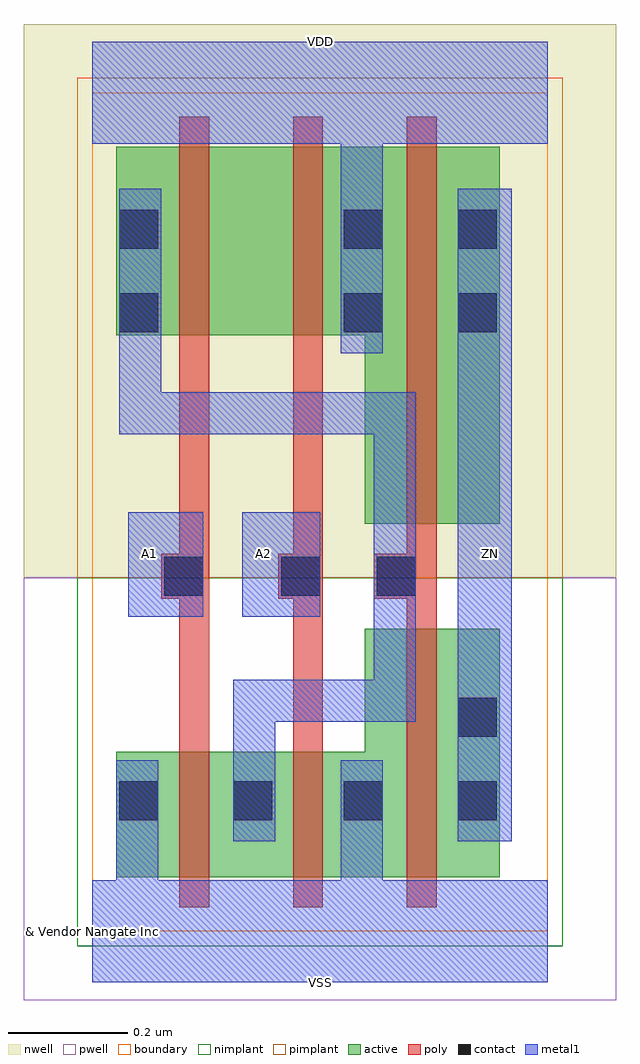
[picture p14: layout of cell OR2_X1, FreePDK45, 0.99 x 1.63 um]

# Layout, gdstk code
import gdstk
lib = gdstk.Library(unit=1e-6, precision=1e-10)
def R(c, l, rs):  # rectangles x0, y0, x1, y1
    for r in rs: c.add(gdstk.rectangle(r[:2], r[2:], *l))
def P(c, l, *ps):  # polygons
    for p in ps: c.add(gdstk.Polygon(p, *l))
active = (1, 0)
pwell = (2, 0)
nwell = (3, 0)
nimplant = (4, 0)
pimplant = (5, 0)
poly = (9, 0)
contact = (10, 0)
metal1 = (11, 0)
boundary = (235, 0)

or2_x1 = lib.new_cell('OR2_X1')
P(or2_x1, active, [(0.04,0.09),(0.04,0.3),(0.455,0.3),(0.455,0.505),(0.68,0.505),(0.68,0.09)],
  [(0.455,0.68),(0.455,0.995),(0.04,0.995),(0.04,1.31),(0.68,1.31),(0.68,0.68)])
R(or2_x1, pwell, [(-0.115,-0.115,0.875,0.59)])
R(or2_x1, nwell, [(-0.115,0.59,0.875,1.515)])
R(or2_x1, nimplant, [(-0.025,-0.025,0.785,0.59)])
R(or2_x1, pimplant, [(-0.025,0.59,0.785,1.425)])
P(or2_x1, poly, [(0.145,0.04),(0.145,0.555),(0.115,0.555),(0.115,0.63),(0.145,0.63),(0.145,1.36),(0.195,1.36),(0.195,0.04)],
  [(0.335,0.04),(0.335,0.555),(0.31,0.555),(0.31,0.63),(0.335,0.63),(0.335,1.36),(0.385,1.36),(0.385,0.04)],
  [(0.525,0.04),(0.525,0.555),(0.47,0.555),(0.47,0.63),(0.525,0.63),(0.525,1.36),(0.575,1.36),(0.575,0.04)])
R(or2_x1, contact, [(0.045,0.185,0.11,0.25), (0.235,0.185,0.3,0.25), (0.42,0.185,0.485,0.25), (0.61,0.185,0.675,0.25), (0.61,0.325,0.675,0.39), (0.12,0.56,0.185,0.625), (0.315,0.56,0.38,0.625), (0.475,0.56,0.54,0.625), (0.045,1,0.11,1.065), (0.42,1,0.485,1.065), (0.61,1,0.675,1.065), (0.045,1.14,0.11,1.205), (0.42,1.14,0.485,1.205), (0.61,1.14,0.675,1.205)])
R(or2_x1, metal1, [(0.61,0.15,0.7,1.24), (0.06,0.525,0.185,0.7), (0.25,0.525,0.38,0.7)])
P(or2_x1, metal1, [(0.235,0.15),(0.235,0.42),(0.47,0.42),(0.47,0.83),(0.045,0.83),(0.045,1.24),(0.115,1.24),(0.115,0.9),(0.54,0.9),(0.54,0.35),(0.305,0.35),(0.305,0.15)],
  [(0,-0.085),(0,0.085),(0.04,0.085),(0.04,0.285),(0.11,0.285),(0.11,0.085),(0.415,0.085),(0.415,0.285),(0.485,0.285),(0.485,0.085),(0.76,0.085),(0.76,-0.085)],
  [(0.415,0.965),(0.415,1.315),(0,1.315),(0,1.485),(0.76,1.485),(0.76,1.315),(0.485,1.315),(0.485,0.965)])
R(or2_x1, boundary, [(0,0,0.76,1.4)])
or2_x1.add(gdstk.Label('A1', (0.095,0.63), layer=11, texttype=0))
or2_x1.add(gdstk.Label('A2', (0.285,0.63), layer=11, texttype=0))
or2_x1.add(gdstk.Label('VDD', (0.38,1.485), layer=11, texttype=0))
or2_x1.add(gdstk.Label('VSS', (0.38,-0.085), layer=11, texttype=0))
or2_x1.add(gdstk.Label('ZN', (0.665,0.63), layer=11, texttype=0))
or2_x1.add(gdstk.Label('& Vendor Nangate Inc', (0,0), layer=63, texttype=63))
or2_x1.add(gdstk.Label('& Product Open Cell Library', (0,0), layer=63, texttype=63))
or2_x1.add(gdstk.Label('& Version 2010_12', (0,0), layer=63, texttype=63))
or2_x1.add(gdstk.Label('& Instance OR2_X1', (0,0), layer=63, texttype=63))

lib.write_gds('OR2_X1.gds')
